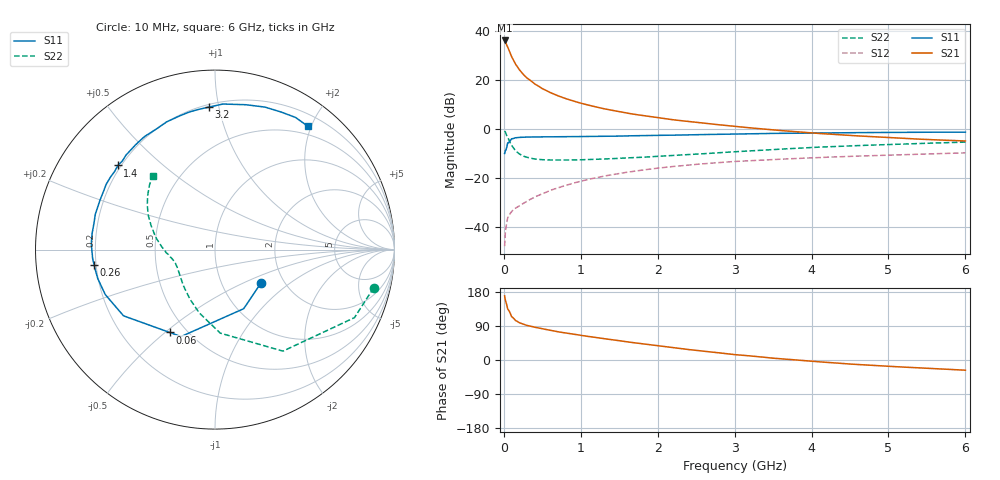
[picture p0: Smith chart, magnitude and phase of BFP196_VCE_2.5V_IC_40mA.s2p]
! Infineon Technologies  Discrete & RF Semiconductors
! BFP196
! VCE = 2.5 V,  IC =  40mA
! Common Emitter S-Parameters:  Jan 2016
# GHz  S  MA  R  50
!  f  S11  S21  S12  S22
! GHz  MAG  ANG  MAG  ANG  MAG  ANG  MAG  ANG
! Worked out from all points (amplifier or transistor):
!   210 points, 10 MHz to 6 GHz, reference 50 ohm
!   highest |S21| = 36.0 dB at 10 MHz (marker M1)
!   |S21| within 3 dB of that: start of sweep to 54.24 MHz
!   unconditionally stable (mu >= 1): 480.3 MHz to 4.401 GHz
!   at 185 MHz: K = 0.67, MSG = 28.3 dB, |S12| = -31.6 dB
!   at 1.52 GHz: K = 1.09, MAG = 10.6 dB, |S12| = -18.0 dB
!   at 6 GHz: K = 0.99, MSG = 2.4 dB, |S12| = -9.8 dB
!   S11 on the Smith chart (normalised r, x): 10 MHz: 1.52, -0.64; 60 MHz: 0.41, -0.52; 260 MHz: 0.19, -0.06; 1.4 GHz: 0.19, +0.36; 3.2 GHz: 0.22, +0.93; 6 GHz: 0.37, +1.95
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0.01  0.3166 -36.4  63.38 169.2  0.0041 82.0  0.9094 -13.5
0.02  0.366 -64.1  59.89 157.9  0.0079 70.3  0.8645 -26.0
0.05  0.52 -111.3  46.44 134.7  0.0155 55.6  0.6807 -56.2
0.06  0.5262 -118.7  42.78 132.0  0.0165 53.5  0.6269 -60.5
0.1  0.6292 -144.1  29.7 114.6  0.0208 47.4  0.4661 -86.4
0.15  0.6607 -157.7  21.04 104.5  0.0243 46.4  0.3631 -104.0
0.2  0.6729 -166.1  16.19 98.5  0.027 48.9  0.3112 -116.2
0.24  0.6765 -170.6  13.62 95.3  0.0296 51.0  0.2862 -123.6
0.26  0.6788 -172.6  12.58 93.8  0.0309 51.9  0.2774 -126.8
0.3  0.6837 -176.0  10.93 91.2  0.0338 53.3  0.265 -132.1
0.4  0.6901 177.2  8.287 86.4  0.0409 57.1  0.2449 -142.1
0.5  0.6905 172.5  6.627 82.3  0.0477 58.9  0.2365 -148.7
0.6  0.6901 167.8  5.534 78.3  0.0557 60.1  0.233 -153.1
0.7  0.6953 163.6  4.761 74.5  0.063 60.8  0.2325 -156.5
1.02  0.7018 151.7  3.286 64.5  0.0877 59.5  0.2361 -163.8
1.4  0.7159 139.1  2.4 53.7  0.1164 55.9  0.2473 -169.3
2.02  0.7424 121.1  1.677 37.3  0.1604 47.4  0.2777 -178.2
3.1  0.7899 94.6  1.089 12.6  0.2215 32.1  0.3496 165.3
3.2  0.7941 92.6  1.053 10.8  0.2257 30.7  0.3571 163.7
4.1  0.8273 76.5  0.809 -4.8  0.2617 19.6  0.4262 151.2
5.1  0.8522 63.1  0.656 -17.7  0.2965 8.4  0.4875 139.9
6  0.8603 52.9  0.569 -26.9  0.3252 -1.6  0.5391 130.2
